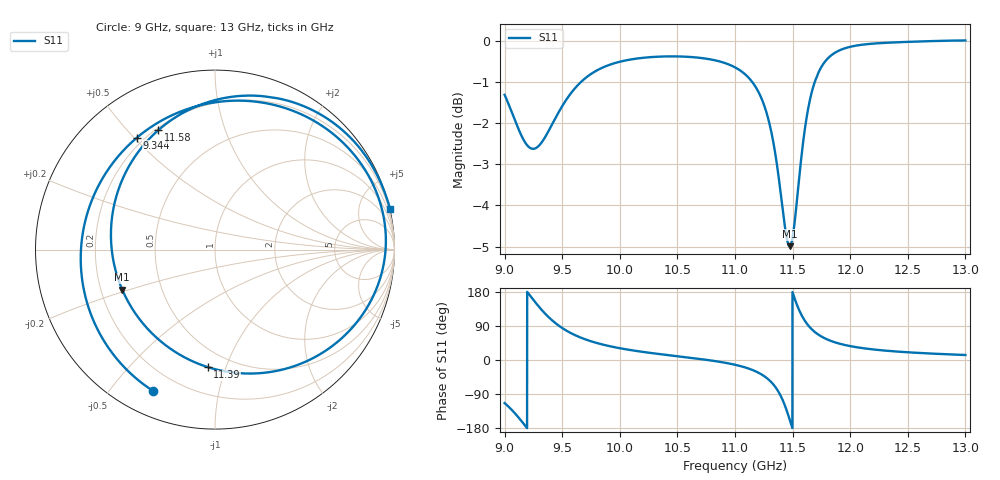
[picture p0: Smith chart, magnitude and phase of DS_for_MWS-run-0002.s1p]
! TOUCHSTONE file generated by CST DESIGN STUDIO
! Date and time: Tue Feb  4 14:10:30 2025
! Project name: C:\Work\MatlabApps\UnitCellOptimizationMatlab\CST\unitcell.cst
! Tree item: Tasks\Sweep1\SPara1\S-Parameters
! Header version: 2024
! Port assignment regex: !\s*Touchstone port\s*([0-9]+)\s*=\s*(CST MWS port|CST DES external port|CST DES block port)\s*(.+)\s* \(\"(.*)\"\)(\s*mode\s*([0-9]+))?.*
! Touchstone port assignment:
! Touchstone port 1 = CST DES external port 1 ("")
# GHz S MA R 50
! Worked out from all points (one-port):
!   4001 points, 9 GHz to 13 GHz, reference 50 ohm
!   lowest |S11| = -5.0 dB at 11.47 GHz (marker M1), VSWR 3.58, Z = 14.5 - j9.52 ohm
!   |S11| at or under -10 dB: nowhere
!   S11 on the Smith chart (normalised r, x): 9 GHz: 0.11, -0.65; 9.344 GHz: 0.17, +0.51; 11.39 GHz: 0.38, -0.87; 11.58 GHz: 0.21, +0.61; 13 GHz: -0.02, +8.66
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9  0.8596 -113.6
9.079  0.8077 -137.2
9.179  0.7521 -173.6
9.254  0.7392 157.0
9.344  0.7606 124.8
9.417  0.7937 103.5
9.5  0.8328 84.4
9.605  0.8735 66.5
9.717  0.9042 52.7
10  0.9428 31.1
10.5  0.957 10.0
11  0.9282 -12.6
11.141  0.8941 -25.1
11.242  0.8428 -40.3
11.321  0.768 -60.4
11.395  0.6559 -93.5
11.434  0.5935 -120.8
11.474  0.563 -156.6
11.5  0.5772 178.5
11.537  0.6383 146.2
11.583  0.7363 115.5
11.615  0.7959 99.7
11.652  0.8495 85.6
11.756  0.9323 60.9
11.86  0.9654 47.4
12  0.983 36.7
12.5  0.9967 20.4
13  1.001 13.2
